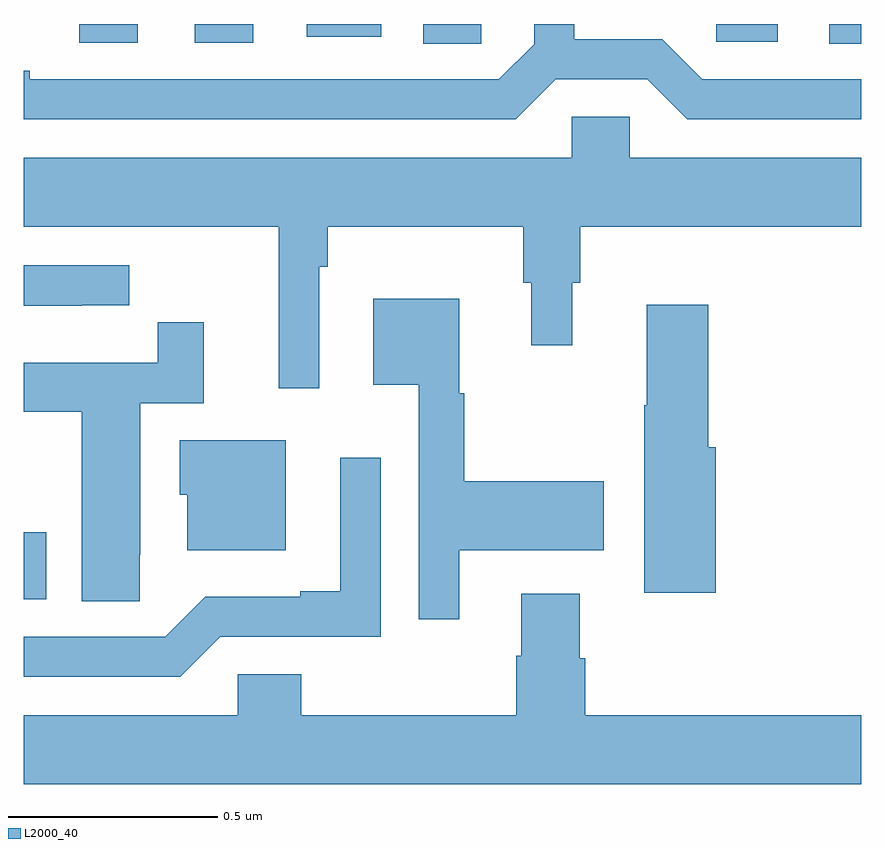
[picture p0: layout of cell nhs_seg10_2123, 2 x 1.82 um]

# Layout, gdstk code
import gdstk
lib = gdstk.Library(unit=1e-6, precision=1e-09)
def R(c, l, rs):  # rectangles x0, y0, x1, y1
    for r in rs: c.add(gdstk.rectangle(r[:2], r[2:], *l))
def P(c, l, *ps):  # polygons
    for p in ps: c.add(gdstk.Polygon(p, *l))
L2000_40 = (2000, 40)

nhs_seg10_2123 = lib.new_cell('nhs_seg10_2123')
R(nhs_seg10_2123, L2000_40, [(137,1266.125,137.053,1266.285), (137.954,1267.453,138.093,1267.5), (138.924,1267.453,139,1267.5), (137.132,1267.455,137.272,1267.5), (137.408,1267.455,137.548,1267.5), (138.654,1267.458,138.801,1267.5), (137.676,1267.47,137.854,1267.5)])
P(nhs_seg10_2123, L2000_40, [(138.271,1267.368),(138.489,1267.368),(138.585,1267.272),(139,1267.272),(139,1267.368),(138.621,1267.368),(138.525,1267.464),(138.315,1267.464),(138.315,1267.5),(138.219,1267.5),(138.219,1267.452),(138.135,1267.368),(137.014,1267.368),(137.014,1267.388),(137,1267.388),(137,1267.272),(138.175,1267.272)],
  [(137.706,1266.92),(137.726,1266.92),(137.726,1267.016),(138.193,1267.016),(138.193,1266.882),(138.212,1266.882),(138.212,1266.732),(138.31,1266.732),(138.31,1266.882),(138.329,1266.882),(138.329,1267.016),(139,1267.016),(139,1267.18),(138.447,1267.18),(138.447,1267.278),(138.309,1267.278),(138.309,1267.18),(137,1267.18),(137,1267.016),(137.609,1267.016),(137.609,1266.63),(137.706,1266.63)],
  [(137.138,1266.828),(137.251,1266.828),(137.251,1266.924),(137,1266.924),(137,1266.827),(137.138,1266.827)],
  [(138.04,1266.242),(138.385,1266.242),(138.385,1266.408),(138.052,1266.408),(138.052,1266.618),(138.04,1266.618),(138.04,1266.844),(137.834,1266.844),(137.834,1266.638),(137.943,1266.638),(137.943,1266.078),(138.04,1266.078)],
  [(138.653,1266.489),(138.635,1266.489),(138.635,1266.829),(138.488,1266.829),(138.488,1266.589),(138.482,1266.589),(138.482,1266.141),(138.653,1266.141)],
  [(137.277,1266.232),(137.278,1266.232),(137.278,1266.594),(137.429,1266.594),(137.429,1266.787),(137.32,1266.787),(137.32,1266.69),(137,1266.69),(137,1266.574),(137.138,1266.574),(137.138,1266.121),(137.277,1266.121)],
  [(137.626,1266.505),(137.372,1266.505),(137.372,1266.375),(137.39,1266.375),(137.39,1266.242),(137.626,1266.242)],
  [(137.469,1266.036),(137.853,1266.036),(137.853,1266.463),(137.756,1266.463),(137.756,1266.145),(137.66,1266.145),(137.66,1266.132),(137.433,1266.132),(137.337,1266.036),(137,1266.036),(137,1265.94),(137.373,1265.94)],
  [(138.328,1265.985),(138.328,1266.139),(138.188,1266.139),(138.188,1265.99),(138.176,1265.99),(138.176,1265.848),(137.663,1265.848),(137.663,1265.946),(137.511,1265.946),(137.511,1265.848),(137,1265.848),(137,1265.684),(139,1265.684),(139,1265.848),(138.341,1265.848),(138.341,1265.985)])

lib.write_gds('nhs_seg10_2123.gds')
